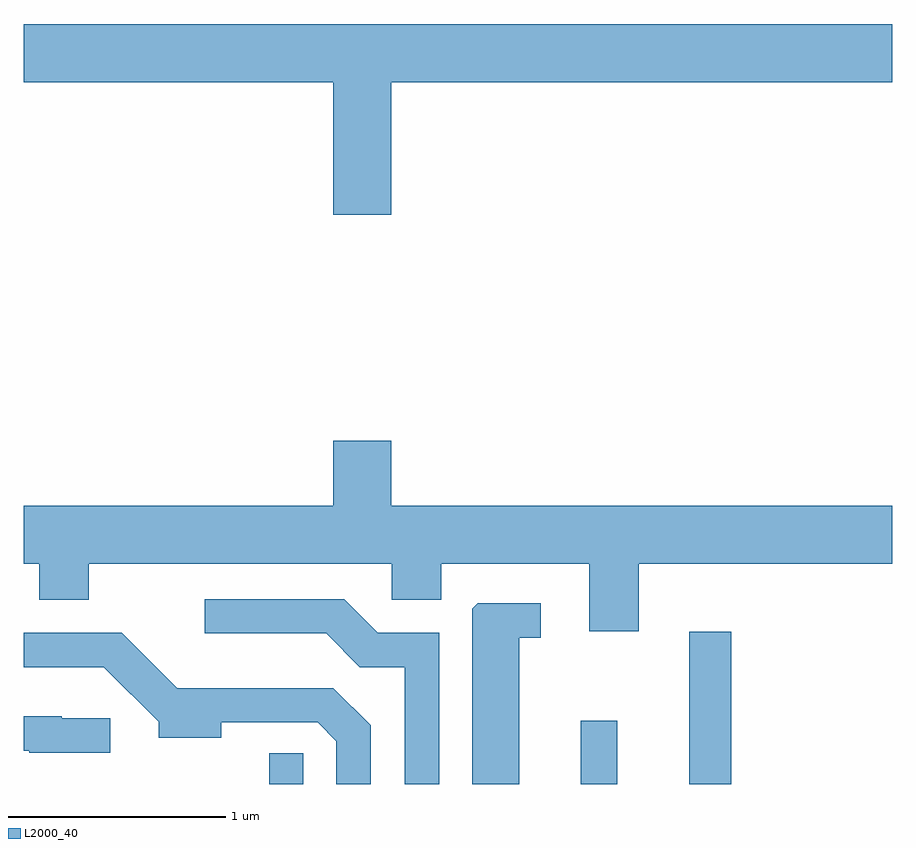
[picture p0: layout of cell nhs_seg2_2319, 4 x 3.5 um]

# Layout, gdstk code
import gdstk
lib = gdstk.Library(unit=1e-6, precision=1e-09)
def R(c, l, rs):  # rectangles x0, y0, x1, y1
    for r in rs: c.add(gdstk.rectangle(r[:2], r[2:], *l))
def P(c, l, *ps):  # polygons
    for p in ps: c.add(gdstk.Polygon(p, *l))
L2000_40 = (2000, 40)

nhs_seg2_2319 = lib.new_cell('nhs_seg2_2319')
R(nhs_seg2_2319, L2000_40, [(254.741,991.802,254.899,991.943), (256.176,991.802,256.344,992.093), (256.676,991.802,256.869,992.504)])
P(nhs_seg2_2319, L2000_40, [(255.304,995.036),(257.611,995.036),(257.611,995.304),(253.611,995.304),(253.611,995.036),(255.036,995.036),(255.036,994.426),(255.304,994.426)],
  [(255.304,993.384),(255.036,993.384),(255.036,993.084),(253.611,993.084),(253.611,992.816),(253.681,992.816),(253.681,992.651),(253.909,992.651),(253.909,992.816),(255.306,992.816),(255.306,992.651),(255.534,992.651),(255.534,992.816),(256.216,992.816),(256.216,992.506),(256.444,992.506),(256.444,992.816),(257.611,992.816),(257.611,993.084),(255.304,993.084)],
  [(255.524,992.499),(255.242,992.499),(255.087,992.654),(254.443,992.654),(254.443,992.496),(255.004,992.496),(255.159,992.341),(255.366,992.341),(255.366,991.802),(255.524,991.802)],
  [(255.894,992.476),(255.993,992.476),(255.993,992.634),(255.702,992.634),(255.676,992.609),(255.676,991.802),(255.894,991.802)],
  [(255.209,992.072),(255.037,992.244),(254.317,992.244),(254.062,992.499),(253.611,992.499),(253.611,992.341),(253.979,992.341),(254.231,992.089),(254.231,992.016),(254.519,992.016),(254.519,992.086),(254.964,992.086),(255.051,991.999),(255.051,991.802),(255.209,991.802)],
  [(254.008,992.104),(253.785,992.104),(253.785,992.114),(253.611,992.114),(253.611,991.956),(253.635,991.956),(253.635,991.946),(254.008,991.946)])

lib.write_gds('nhs_seg2_2319.gds')
